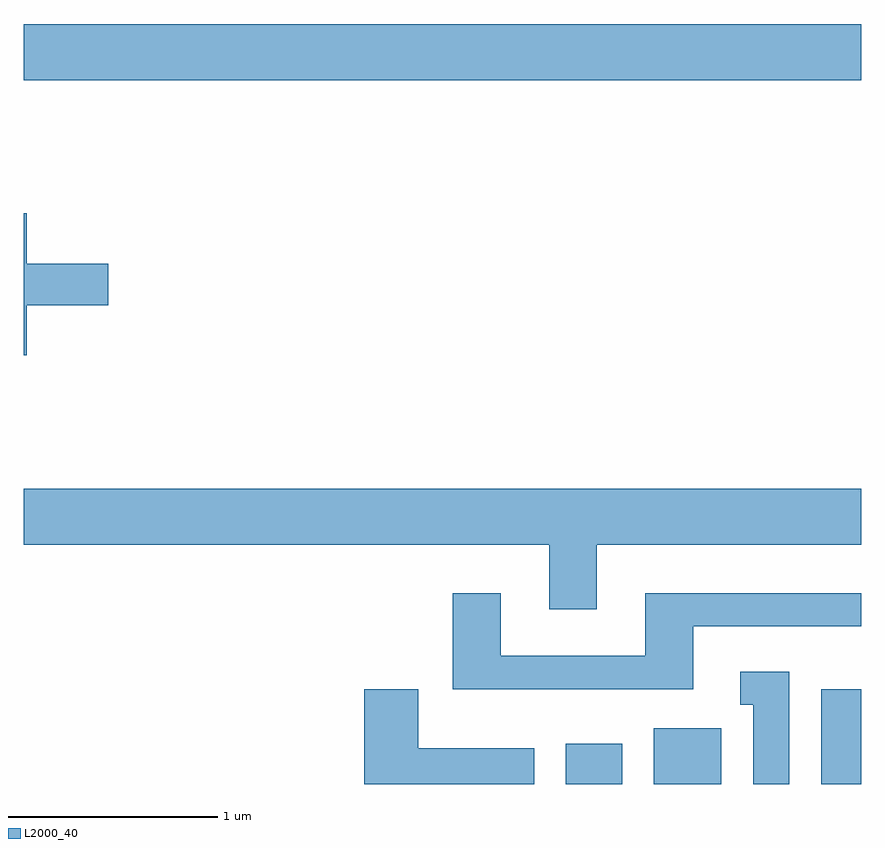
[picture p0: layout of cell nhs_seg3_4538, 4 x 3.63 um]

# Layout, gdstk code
import gdstk
lib = gdstk.Library(unit=1e-6, precision=1e-09)
def R(c, l, rs):  # rectangles x0, y0, x1, y1
    for r in rs: c.add(gdstk.rectangle(r[:2], r[2:], *l))
def P(c, l, *ps):  # polygons
    for p in ps: c.add(gdstk.Polygon(p, *l))
L2000_40 = (2000, 40)

nhs_seg3_4538 = lib.new_cell('nhs_seg3_4538')
R(nhs_seg3_4538, L2000_40, [(320.201,1215.892,320.469,1216.084), (320.621,1215.892,320.944,1216.159), (321.421,1215.892,321.611,1216.344), (317.611,1219.256,321.611,1219.524)])
P(nhs_seg3_4538, L2000_40, [(317.624,1218.181),(318.014,1218.181),(318.014,1218.379),(317.624,1218.379),(317.624,1218.619),(317.611,1218.619),(317.611,1217.941),(317.624,1217.941)],
  [(320.349,1217.036),(321.611,1217.036),(321.611,1217.304),(317.611,1217.304),(317.611,1217.036),(320.121,1217.036),(320.121,1216.726),(320.349,1216.726)],
  [(320.809,1216.646),(321.611,1216.646),(321.611,1216.804),(320.581,1216.804),(320.581,1216.504),(319.889,1216.504),(319.889,1216.804),(319.661,1216.804),(319.661,1216.346),(320.809,1216.346)],
  [(321.269,1216.429),(321.033,1216.429),(321.033,1216.271),(321.096,1216.271),(321.096,1215.892),(321.269,1215.892)],
  [(320.049,1216.064),(319.494,1216.064),(319.494,1216.344),(319.236,1216.344),(319.236,1215.892),(320.049,1215.892)])

lib.write_gds('nhs_seg3_4538.gds')
